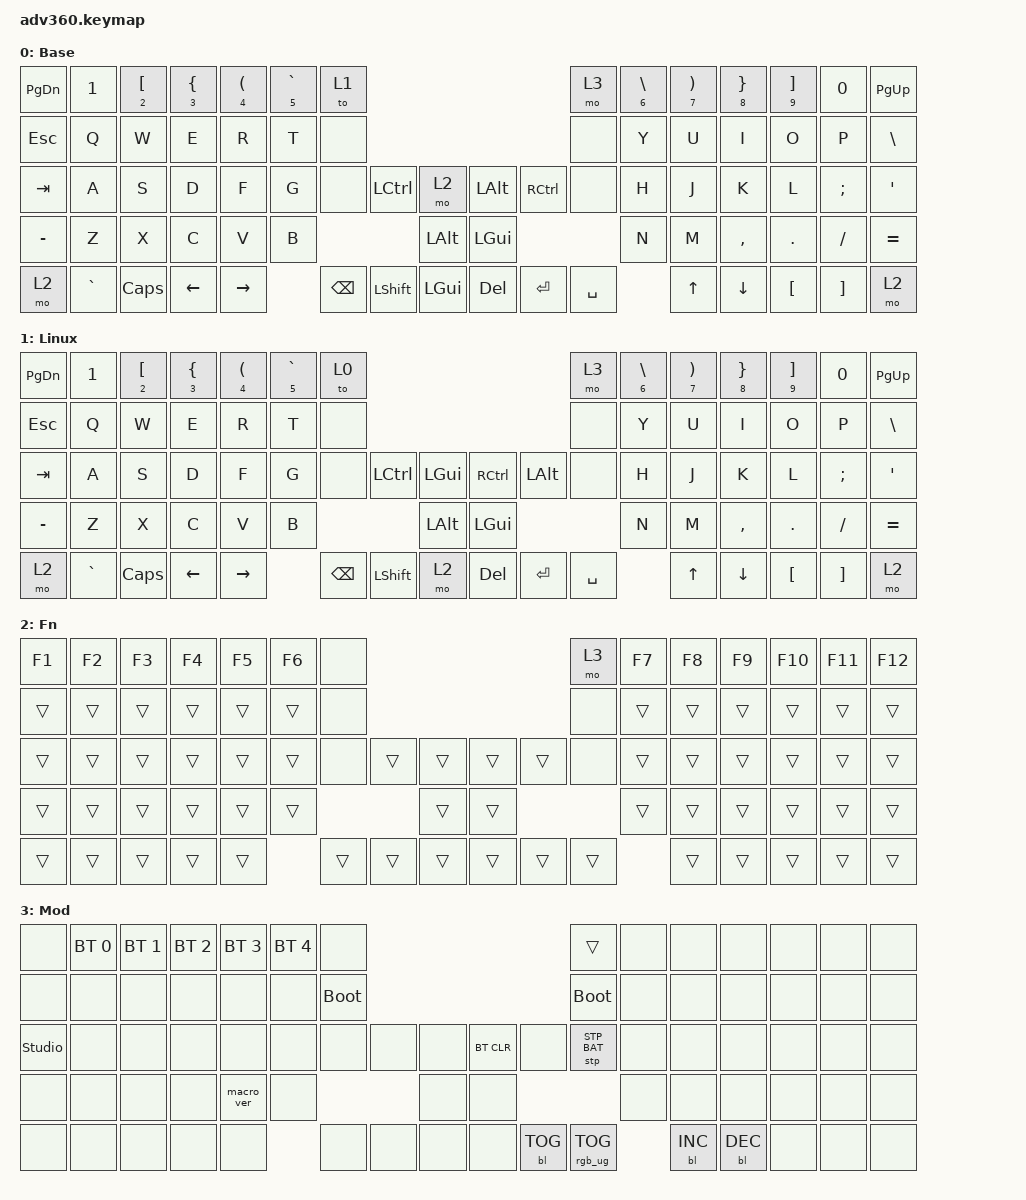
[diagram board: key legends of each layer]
#include <behaviors.dtsi>
#include <dt-bindings/zmk/keys.h>
#include <dt-bindings/zmk/bt.h>
#include <dt-bindings/zmk/rgb.h>
#include <dt-bindings/zmk/stp.h>
#include <dt-bindings/zmk/backlight.h>
#include <dt-bindings/zmk/pointing.h>

/ {
    behaviors {
      #include "macros.dtsi"
      #include "version.dtsi"

      hm: homerow_mods {
          compatible = "zmk,behavior-hold-tap";
          label = "HOMEROW_MODS";
          #binding-cells = <2>;
          tapping-term-ms = <200>;
          quick_tap_ms = <175>;
          flavor = "tap-preferred";
          bindings = <&kp>, <&kp>;
      };
    };

  keymap {
    compatible = "zmk,keymap";

    default_layer {
      display-name = "Base";
      bindings = <
        &kp PG_DN &kp N1    &mt N2 LBKT &mt N3 LBRC &mt N4 LPAR &mt N5 GRAVE &to 1                                                        &mo 3      &mt N6 BSLH &mt N7 RPAR &mt N8 RBRC &mt N9 RBKT &kp N0   &kp PG_UP
        &kp ESC   &kp Q     &kp W       &kp E       &kp R       &kp T        &none                                                         &none      &kp Y       &kp U       &kp I       &kp O       &kp P    &kp BSLH
        &kp TAB   &kp A     &kp S       &kp D       &kp F       &kp G        &none    &kp LCTRL       &mo 2         &kp LALT     &kp RCTRL &none      &kp H       &kp J       &kp K       &kp L       &kp SEMI &kp SQT
        &kp MINUS &kp Z     &kp X       &kp C       &kp V       &kp B                                 &kp LALT      &kp LEFT_GUI                      &kp N       &kp M       &kp COMMA   &kp DOT     &kp FSLH &kp EQUAL
        &mo 2     &kp GRAVE &kp CAPS    &kp LEFT    &kp RIGHT                &kp BSPC &kp LEFT_SHIFT  &kp LEFT_GUI  &kp DELETE   &kp ENTER &kp SPACE              &kp UP      &kp DOWN    &kp LBKT    &kp RBKT &mo 2
      >;
    };
    linux {
      display-name = "Linux";
      bindings = <
        &kp PG_DN &kp N1    &mt N2 LBKT &mt N3 LBRC &mt N4 LPAR &mt N5 GRAVE &to 0                                                       &mo 3      &mt N6 BSLH &mt N7 RPAR &mt N8 RBRC &mt N9 RBKT &kp N0   &kp PG_UP
        &kp ESC   &kp Q     &kp W       &kp E       &kp R       &kp T        &none                                                        &none      &kp Y       &kp U       &kp I       &kp O       &kp P    &kp BSLH
        &kp TAB   &kp A     &kp S       &kp D       &kp F       &kp G        &none    &kp LCTRL       &kp LEFT_GUI &kp RCTRL    &kp LALT  &none      &kp H       &kp J       &kp K       &kp L       &kp SEMI &kp SQT
        &kp MINUS &kp Z     &kp X       &kp C       &kp V       &kp B                                 &kp LALT     &kp LEFT_GUI                      &kp N       &kp M       &kp COMMA   &kp DOT     &kp FSLH &kp EQUAL
        &mo 2     &kp GRAVE &kp CAPS    &kp LEFT    &kp RIGHT                &kp BSPC &kp LEFT_SHIFT  &mo 2        &kp DELETE   &kp ENTER &kp SPACE              &kp UP      &kp DOWN    &kp LBKT    &kp RBKT &mo 2
      >;
    };
    fn {
      display-name = "Fn";
      bindings = <
        &kp F1 &kp F2 &kp F3 &kp F4 &kp F5 &kp F6  &none                                           &mo 3 &kp F7 &kp F8 &kp F9 &kp F10 &kp F11 &kp F12
        &trans &trans &trans &trans &trans &trans  &none                                           &none &trans &trans &trans &trans  &trans  &trans
        &trans &trans &trans &trans &trans &trans  &none        &trans &trans &trans &trans        &none &trans &trans &trans &trans  &trans  &trans
        &trans &trans &trans &trans &trans &trans                      &trans &trans                     &trans &trans &trans &trans  &trans  &trans
        &trans &trans &trans &trans &trans               &trans &trans &trans &trans &trans &trans              &trans &trans &trans  &trans  &trans
      >;
    };
    mod {
      display-name = "Mod";
      bindings = <
        &none &bt BT_SEL 0 &bt BT_SEL 1 &bt BT_SEL 2 &bt BT_SEL 3 &bt BT_SEL 4 &none                                                                     &trans                 &none        &none        &none        &none &none &none
        &none &none        &none        &none        &none        &none        &bootloader                                                               &bootloader            &none        &none        &none        &none &none &none
        &studio_unlock &none        &none        &none        &none        &none        &none                   &none &none &bt BT_CLR &none                      &stp STP_BAT &none        &none        &none        &none &none &none
        &none &none        &none        &none        &macro_ver   &none                                      &none &none                                                        &none        &none        &none        &none &none &none
        &none &none        &none        &none        &none                                       &none &none &none &none      &bl BL_TOG &rgb_ug RGB_TOG                                     &bl BL_INC   &bl BL_DEC   &none &none &none
      >;
    };
    extra1 { 
      display-name = "Red";    
      status = "reserved";
    };

    extra2 { 
      display-name = "Purple";    
      status = "reserved";
    };

    extra3 { 
      display-name = "Cyan";    
      status = "reserved";
    };

    extra4 { 
      display-name = "Yellow";    
      status = "reserved";
    };
  };
};
